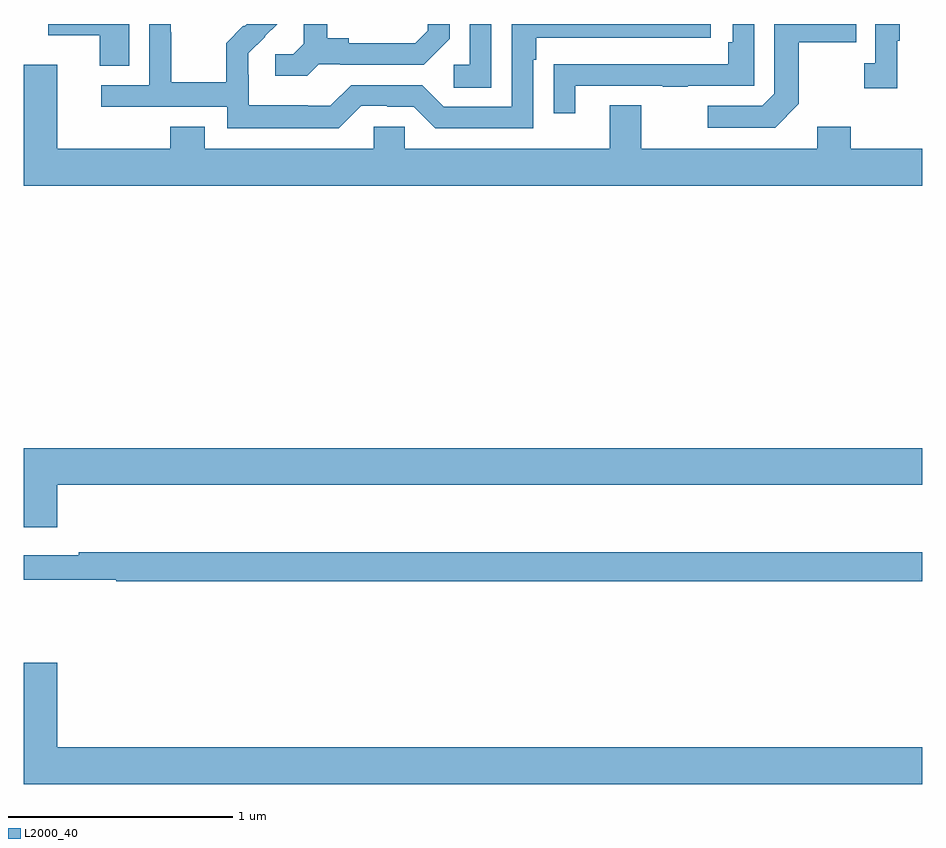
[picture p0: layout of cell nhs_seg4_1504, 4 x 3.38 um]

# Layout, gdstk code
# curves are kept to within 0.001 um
import gdstk
lib = gdstk.Library(unit=1e-6, precision=1e-09)
def R(c, l, rs):  # rectangles x0, y0, x1, y1
    for r in rs: c.add(gdstk.rectangle(r[:2], r[2:], *l))
def P(c, l, *ps):  # polygons
    for p in ps: c.add(gdstk.Polygon(p, *l))
L2000_40 = (2000, 40)

nhs_seg4_1504 = lib.new_cell('nhs_seg4_1504')
R(nhs_seg4_1504, L2000_40, [(190.523,770.899,190.668,770.9)])
P(nhs_seg4_1504, L2000_40, [(190.314,770.721),(190.408,770.721),(190.408,770.718),(190.78,770.718),(190.896,770.834),(190.896,770.9),(190.799,770.9),(190.799,770.871),(190.742,770.814),(190.447,770.814),(190.447,770.837),(190.351,770.837),(190.351,770.9),(190.247,770.9),(190.247,770.813),(190.2,770.766),(190.119,770.766),(190.119,770.669),(190.262,770.669)],
  [(189.469,770.9),(189.108,770.9),(189.108,770.849),(189.338,770.849),(189.338,770.713),(189.469,770.713)],
  [(192.451,770.545),(192.451,770.818),(192.707,770.818),(192.707,770.9),(192.342,770.9),(192.342,770.589),(192.288,770.535),(192.045,770.535),(192.045,770.439),(192.345,770.439)],
  [(191.082,770.9),(190.986,770.9),(190.986,770.718),(190.914,770.718),(190.914,770.617),(191.082,770.617)],
  [(191.455,770.625),(191.845,770.625),(191.845,770.62),(191.957,770.62),(191.957,770.625),(192.252,770.625),(192.252,770.9),(192.156,770.9),(192.156,770.818),(192.136,770.818),(192.136,770.721),(191.461,770.721),(191.461,770.72),(191.359,770.72),(191.359,770.502),(191.455,770.502)],
  [(192.889,770.825),(192.901,770.825),(192.901,770.9),(192.792,770.9),(192.792,770.726),(192.741,770.726),(192.741,770.613),(192.889,770.613)],
  [(190.503,770.535),(190.619,770.535),(190.619,770.532),(190.737,770.532),(190.833,770.436),(191.268,770.436),(191.268,770.741),(191.281,770.741),(191.281,770.838),(192.058,770.838),(192.058,770.9),(191.172,770.9),(191.172,770.532),(190.869,770.532),(190.773,770.628),(190.458,770.628),(190.365,770.535),(190.265,770.535),(190.265,770.539),(190.002,770.539),(190.002,770.673),(190,770.673),(190,770.77),(190.128,770.9),(189.992,770.9),(189.981,770.889),(189.978,770.892),(189.901,770.815),(189.901,770.641),(189.657,770.641),(189.657,770.864),(189.654,770.864),(189.654,770.9),(189.558,770.9),(189.558,770.628),(189.345,770.628),(189.345,770.532),(189.906,770.532),(189.906,770.435),(190.403,770.435)],
  [(193,770.344),(192.681,770.344),(192.681,770.443),(192.533,770.443),(192.533,770.344),(191.749,770.344),(191.749,770.539),(191.609,770.539),(191.609,770.344),(190.695,770.344),(190.695,770.442),(190.557,770.442),(190.557,770.344),(189.805,770.344),(189.805,770.443),(189.653,770.443),(189.653,770.344),(189.148,770.344),(189.148,770.719),(189,770.719),(189,770.18),(193,770.18)],
  [(189.148,768.848),(193,768.848),(193,769.012),(189,769.012),(189,768.66),(189.148,768.66)],
  [(193,768.547),(189.244,768.547),(189.244,768.534),(189,768.534),(189,768.426),(189.412,768.426),(189.412,768.418),(193,768.418)],
  [(193,767.68),(189.148,767.68),(189.148,768.055),(189,768.055),(189,767.516),(193,767.516)])

lib.write_gds('nhs_seg4_1504.gds')
